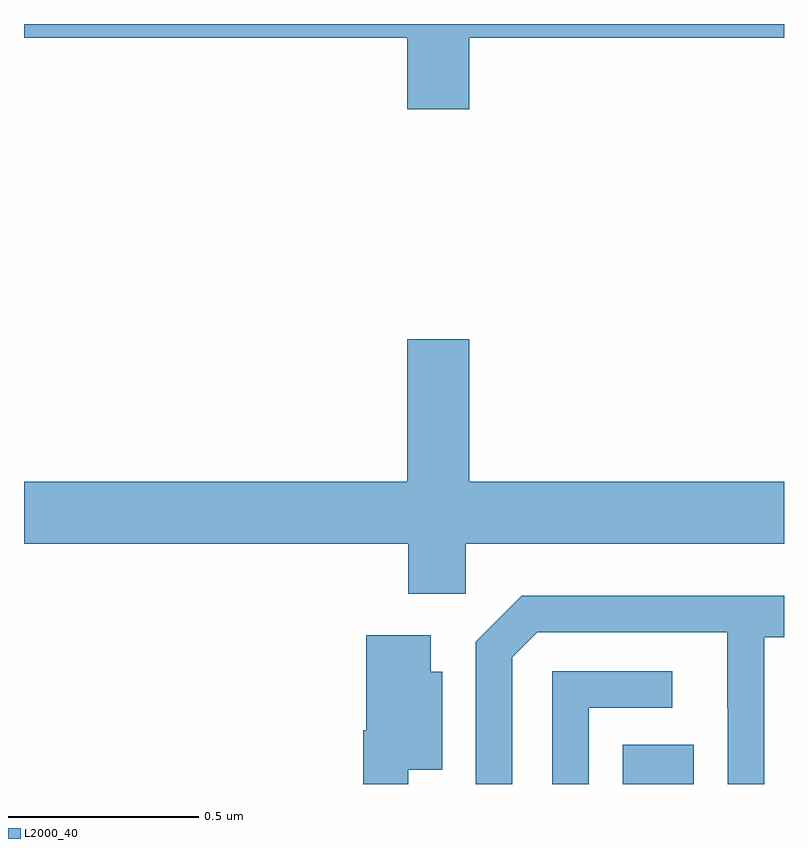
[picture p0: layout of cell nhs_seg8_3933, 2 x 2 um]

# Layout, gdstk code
import gdstk
lib = gdstk.Library(unit=1e-6, precision=1e-09)
def R(c, l, rs):  # rectangles x0, y0, x1, y1
    for r in rs: c.add(gdstk.rectangle(r[:2], r[2:], *l))
def P(c, l, *ps):  # polygons
    for p in ps: c.add(gdstk.Polygon(p, *l))
L2000_40 = (2000, 40)

nhs_seg8_3933 = lib.new_cell('nhs_seg8_3933')
R(nhs_seg8_3933, L2000_40, [(165.575,1083.9,165.763,1084.003)])
P(nhs_seg8_3933, L2000_40, [(165.172,1085.864),(166,1085.864),(166,1085.9),(164,1085.9),(164,1085.864),(165.008,1085.864),(165.008,1085.676),(165.172,1085.676)],
  [(165.162,1084.532),(166,1084.532),(166,1084.696),(165.172,1084.696),(165.172,1085.071),(165.008,1085.071),(165.008,1084.696),(164,1084.696),(164,1084.532),(165.011,1084.532),(165.011,1084.401),(165.162,1084.401)],
  [(165.285,1084.233),(165.351,1084.299),(165.851,1084.299),(165.851,1084.099),(165.852,1084.099),(165.852,1083.9),(165.948,1083.9),(165.948,1084.286),(166,1084.286),(166,1084.396),(165.31,1084.396),(165.189,1084.275),(165.189,1083.9),(165.285,1083.9)],
  [(165.011,1083.938),(165.1,1083.938),(165.1,1084.195),(165.07,1084.195),(165.07,1084.291),(164.9,1084.291),(164.9,1084.042),(164.893,1084.042),(164.893,1083.9),(165.011,1083.9)],
  [(165.486,1084.101),(165.706,1084.101),(165.706,1084.197),(165.39,1084.197),(165.39,1083.9),(165.486,1083.9)])

lib.write_gds('nhs_seg8_3933.gds')
